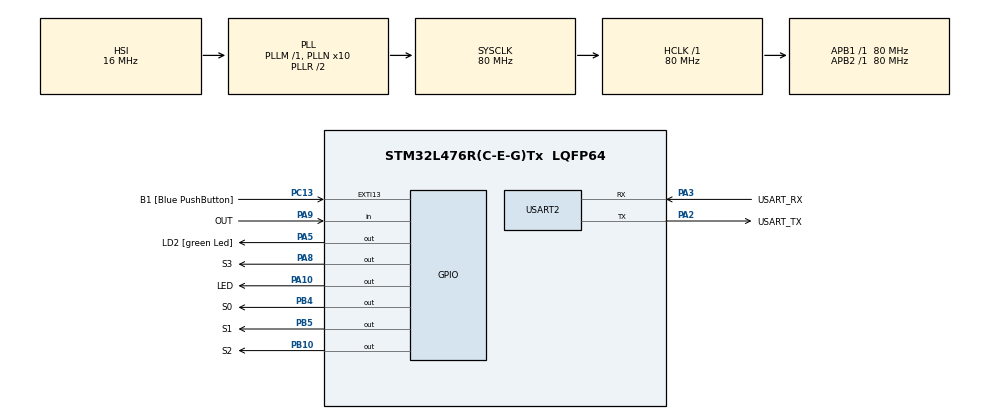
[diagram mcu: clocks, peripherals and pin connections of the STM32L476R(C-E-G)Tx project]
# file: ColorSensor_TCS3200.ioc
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Mcu.Family=STM32L4
Mcu.Name=STM32L476R(C-E-G)Tx
Mcu.Package=LQFP64
NVIC.PriorityGroup=NVIC_PRIORITYGROUP_4
PA10.GPIO_Label=LED
PA10.Signal=GPIO_Output
PA13\ (JTMS-SWDIO).GPIO_Label=TMS
PA13\ (JTMS-SWDIO).Mode=Serial_Wire
PA13\ (JTMS-SWDIO).Signal=SYS_JTMS-SWDIO
PA14\ (JTCK-SWCLK).GPIO_Label=TCK
PA14\ (JTCK-SWCLK).Mode=Serial_Wire
PA14\ (JTCK-SWCLK).Signal=SYS_JTCK-SWCLK
PA2.GPIO_Label=USART_TX
PA2.GPIO_Mode=GPIO_MODE_AF_PP
PA2.GPIO_PuPd=GPIO_NOPULL
PA2.GPIO_Speed=GPIO_SPEED_FREQ_VERY_HIGH
PA2.Mode=Asynchronous
PA2.Signal=USART2_TX
PA3.GPIO_Label=USART_RX
PA3.GPIO_Mode=GPIO_MODE_AF_PP
PA3.GPIO_PuPd=GPIO_NOPULL
PA3.GPIO_Speed=GPIO_SPEED_FREQ_VERY_HIGH
PA3.Mode=Asynchronous
PA3.Signal=USART2_RX
PA5.GPIO_Label=LD2 [green Led]
PA5.GPIO_ModeDefaultOutputPP=GPIO_MODE_OUTPUT_PP
PA5.GPIO_PuPd=GPIO_NOPULL
PA5.GPIO_Speed=GPIO_SPEED_FREQ_LOW
PA5.Signal=GPIO_Output
PA8.GPIO_Label=S3
PA8.Signal=GPIO_Output
PA9.GPIO_Label=OUT
PA9.Signal=GPIO_Input
PB10.GPIO_Label=S2
PB10.Signal=GPIO_Output
PB3\ (JTDO-TRACESWO).GPIO_Label=SWO
PB3\ (JTDO-TRACESWO).Signal=SYS_JTDO-SWO
PB4\ (NJTRST).GPIO_Label=S0
PB4\ (NJTRST).Signal=GPIO_Output
PB5.GPIO_Label=S1
PB5.Signal=GPIO_Output
PC13.GPIO_Label=B1 [Blue PushButton]
PC13.GPIO_ModeDefaultEXTI=GPIO_MODE_IT_FALLING
PC13.GPIO_PuPd=GPIO_NOPULL
PC13.Signal=GPXTI13
PC14-OSC32_IN\ (PC14).Mode=LSE-External-Oscillator
PC14-OSC32_IN\ (PC14).Signal=RCC_OSC32_IN
PC15-OSC32_OUT\ (PC15).Mode=LSE-External-Oscillator
PC15-OSC32_OUT\ (PC15).Signal=RCC_OSC32_OUT
PH0-OSC_IN\ (PH0).Signal=RCC_OSC_IN
PH1-OSC_OUT\ (PH1).Signal=RCC_OSC_OUT
ProjectManager.HeapSize=0x200
ProjectManager.StackSize=0x400
ProjectManager.TargetToolchain=STM32CubeIDE
RCC.ADCFreq_Value=64000000
RCC.AHBFreq_Value=80000000
RCC.APB1Freq_Value=80000000
RCC.APB1TimFreq_Value=80000000
RCC.APB2Freq_Value=80000000
RCC.APB2TimFreq_Value=80000000
RCC.CortexFreq_Value=80000000
RCC.HCLKFreq_Value=80000000
RCC.HSE_VALUE=8000000
RCC.HSI_VALUE=16000000
RCC.MSI_VALUE=4000000
RCC.PLLN=10
RCC.PLLSourceVirtual=RCC_PLLSOURCE_HSI
RCC.PREFETCH_ENABLE=1
RCC.SYSCLKFreq_VALUE=80000000
RCC.SYSCLKSource=RCC_SYSCLKSOURCE_PLLCLK
RCC.USBFreq_Value=64000000
RCC.VCOOutputFreq_Value=160000000
TIM2.Prescaler=95
USART2.VirtualMode-Asynchronous=VM_ASYNC
VP_TIM2_VS_ClockSourceINT.Mode=Internal
board=NUCLEO-L476RG

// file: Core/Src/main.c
/* USER CODE BEGIN Header */
/**
  ******************************************************************************
  * @file           : main.c
  * @brief          : Main program body
  ******************************************************************************
  * @attention
  *
  * Copyright (c) 2023 STMicroelectronics.
  * All rights reserved.
  *
  * This software is licensed under terms that can be found in the LICENSE file
  * in the root directory of this software component.
  * If no LICENSE file comes with this software, it is provided AS-IS.
  *
  ******************************************************************************
  */
/* USER CODE END Header */
#include "main.h"

/* USER CODE BEGIN Includes */
#include <string.h>
#include <stdio.h>
#include "colorsensor.h"
/* USER CODE END Includes */

TIM_HandleTypeDef htim2;

UART_HandleTypeDef huart2;

/* USER CODE BEGIN PV */
char buf[100];
char gbuf[100];
/* USER CODE END PV */

void SystemClock_Config(void);
static void MX_GPIO_Init(void);
static void MX_USART2_UART_Init(void);
static void MX_TIM2_Init(void);

int main(void)
{

  /* MCU Configuration--------------------------------------------------------*/

  /* Reset of all peripherals, Initializes the Flash interface and the Systick. */
  HAL_Init();

  /* Configure the system clock */
  SystemClock_Config();

  /* Initialize all configured peripherals */
  MX_GPIO_Init();
  MX_USART2_UART_Init();
  MX_TIM2_Init();
  /* USER CODE BEGIN 2 */

  int value = 0;
  ledToggle(0);
  frequencyScaling(3);
  /* USER CODE END 2 */

  /* Infinite loop */
  /* USER CODE BEGIN WHILE */
  while (1)
  {

	  photodiodeType(0);
	  value = readColorValue();
	  sprintf(buf,"Color value %d", value);
	  HAL_UART_Transmit(&huart2, (unsigned char *)buf, strlen(buf), 1);
	  gbuf[0]=13;
	  gbuf[1]=10;
	  HAL_UART_Transmit(&huart2, (unsigned char *)gbuf, 2, 1);
	  HAL_UART_Transmit(&huart2, (unsigned char *)gbuf, 2, 1);

	  HAL_Delay(500);
    /* USER CODE END WHILE */

  }
}

void SystemClock_Config(void)
{
  RCC_OscInitTypeDef RCC_OscInitStruct = {0};
  RCC_ClkInitTypeDef RCC_ClkInitStruct = {0};

  /** Configure the main internal regulator output voltage
  */
  if (HAL_PWREx_ControlVoltageScaling(PWR_REGULATOR_VOLTAGE_SCALE1) != HAL_OK)
  {
    Error_Handler();
  }

  /** Initializes the RCC Oscillators according to the specified parameters
  * in the RCC_OscInitTypeDef structure.
  */
  RCC_OscInitStruct.OscillatorType = RCC_OSCILLATORTYPE_HSI;
  RCC_OscInitStruct.HSIState = RCC_HSI_ON;
  RCC_OscInitStruct.HSICalibrationValue = RCC_HSICALIBRATION_DEFAULT;
  RCC_OscInitStruct.PLL.PLLState = RCC_PLL_ON;
  RCC_OscInitStruct.PLL.PLLSource = RCC_PLLSOURCE_HSI;
  RCC_OscInitStruct.PLL.PLLM = 1;
  RCC_OscInitStruct.PLL.PLLN = 10;
  RCC_OscInitStruct.PLL.PLLP = RCC_PLLP_DIV7;
  RCC_OscInitStruct.PLL.PLLQ = RCC_PLLQ_DIV2;
  RCC_OscInitStruct.PLL.PLLR = RCC_PLLR_DIV2;
  if (HAL_RCC_OscConfig(&RCC_OscInitStruct) != HAL_OK)
  {
    Error_Handler();
  }

  /** Initializes the CPU, AHB and APB buses clocks
  */
  RCC_ClkInitStruct.ClockType = RCC_CLOCKTYPE_HCLK|RCC_CLOCKTYPE_SYSCLK
                              |RCC_CLOCKTYPE_PCLK1|RCC_CLOCKTYPE_PCLK2;
  RCC_ClkInitStruct.SYSCLKSource = RCC_SYSCLKSOURCE_PLLCLK;
  RCC_ClkInitStruct.AHBCLKDivider = RCC_SYSCLK_DIV1;
  RCC_ClkInitStruct.APB1CLKDivider = RCC_HCLK_DIV1;
  RCC_ClkInitStruct.APB2CLKDivider = RCC_HCLK_DIV1;

  if (HAL_RCC_ClockConfig(&RCC_ClkInitStruct, FLASH_LATENCY_4) != HAL_OK)
  {
    Error_Handler();
  }
}

static void MX_TIM2_Init(void)
{

  TIM_ClockConfigTypeDef sClockSourceConfig = {0};
  TIM_MasterConfigTypeDef sMasterConfig = {0};

  htim2.Instance = TIM2;
  htim2.Init.Prescaler = 95;
  htim2.Init.CounterMode = TIM_COUNTERMODE_UP;
  htim2.Init.Period = 4294967295;
  htim2.Init.ClockDivision = TIM_CLOCKDIVISION_DIV1;
  htim2.Init.AutoReloadPreload = TIM_AUTORELOAD_PRELOAD_DISABLE;
  if (HAL_TIM_Base_Init(&htim2) != HAL_OK)
  {
    Error_Handler();
  }
  sClockSourceConfig.ClockSource = TIM_CLOCKSOURCE_INTERNAL;
  if (HAL_TIM_ConfigClockSource(&htim2, &sClockSourceConfig) != HAL_OK)
  {
    Error_Handler();
  }
  sMasterConfig.MasterOutputTrigger = TIM_TRGO_RESET;
  sMasterConfig.MasterSlaveMode = TIM_MASTERSLAVEMODE_DISABLE;
  if (HAL_TIMEx_MasterConfigSynchronization(&htim2, &sMasterConfig) != HAL_OK)
  {
    Error_Handler();
  }

}

static void MX_USART2_UART_Init(void)
{

  huart2.Instance = USART2;
  huart2.Init.BaudRate = 115200;
  huart2.Init.WordLength = UART_WORDLENGTH_8B;
  huart2.Init.StopBits = UART_STOPBITS_1;
  huart2.Init.Parity = UART_PARITY_NONE;
  huart2.Init.Mode = UART_MODE_TX_RX;
  huart2.Init.HwFlowCtl = UART_HWCONTROL_NONE;
  huart2.Init.OverSampling = UART_OVERSAMPLING_16;
  huart2.Init.OneBitSampling = UART_ONE_BIT_SAMPLE_DISABLE;
  huart2.AdvancedInit.AdvFeatureInit = UART_ADVFEATURE_NO_INIT;
  if (HAL_UART_Init(&huart2) != HAL_OK)
  {
    Error_Handler();
  }

}

static void MX_GPIO_Init(void)
{
  GPIO_InitTypeDef GPIO_InitStruct = {0};

  /* GPIO Ports Clock Enable */
  __HAL_RCC_GPIOC_CLK_ENABLE();
  __HAL_RCC_GPIOH_CLK_ENABLE();
  __HAL_RCC_GPIOA_CLK_ENABLE();
  __HAL_RCC_GPIOB_CLK_ENABLE();

  /*Configure GPIO pin Output Level */
  HAL_GPIO_WritePin(GPIOA, LD2_Pin|S3_Pin|LED_Pin, GPIO_PIN_RESET);

  /*Configure GPIO pin Output Level */
  HAL_GPIO_WritePin(GPIOB, S2_Pin|S0_Pin|S1_Pin, GPIO_PIN_RESET);

  /*Configure GPIO pin : B1_Pin */
  GPIO_InitStruct.Pin = B1_Pin;
  GPIO_InitStruct.Mode = GPIO_MODE_IT_FALLING;
  GPIO_InitStruct.Pull = GPIO_NOPULL;
  HAL_GPIO_Init(B1_GPIO_Port, &GPIO_InitStruct);

  /*Configure GPIO pins : LD2_Pin S3_Pin LED_Pin */
  GPIO_InitStruct.Pin = LD2_Pin|S3_Pin|LED_Pin;
  GPIO_InitStruct.Mode = GPIO_MODE_OUTPUT_PP;
  GPIO_InitStruct.Pull = GPIO_NOPULL;
  GPIO_InitStruct.Speed = GPIO_SPEED_FREQ_LOW;
  HAL_GPIO_Init(GPIOA, &GPIO_InitStruct);

  /*Configure GPIO pins : S2_Pin S0_Pin S1_Pin */
  GPIO_InitStruct.Pin = S2_Pin|S0_Pin|S1_Pin;
  GPIO_InitStruct.Mode = GPIO_MODE_OUTPUT_PP;
  GPIO_InitStruct.Pull = GPIO_NOPULL;
  GPIO_InitStruct.Speed = GPIO_SPEED_FREQ_LOW;
  HAL_GPIO_Init(GPIOB, &GPIO_InitStruct);

  /*Configure GPIO pin : OUT_Pin */
  GPIO_InitStruct.Pin = OUT_Pin;
  GPIO_InitStruct.Mode = GPIO_MODE_INPUT;
  GPIO_InitStruct.Pull = GPIO_NOPULL;
  HAL_GPIO_Init(OUT_GPIO_Port, &GPIO_InitStruct);

}

void Error_Handler(void)
{
  __disable_irq();
  while (1)
  {
  }
}
